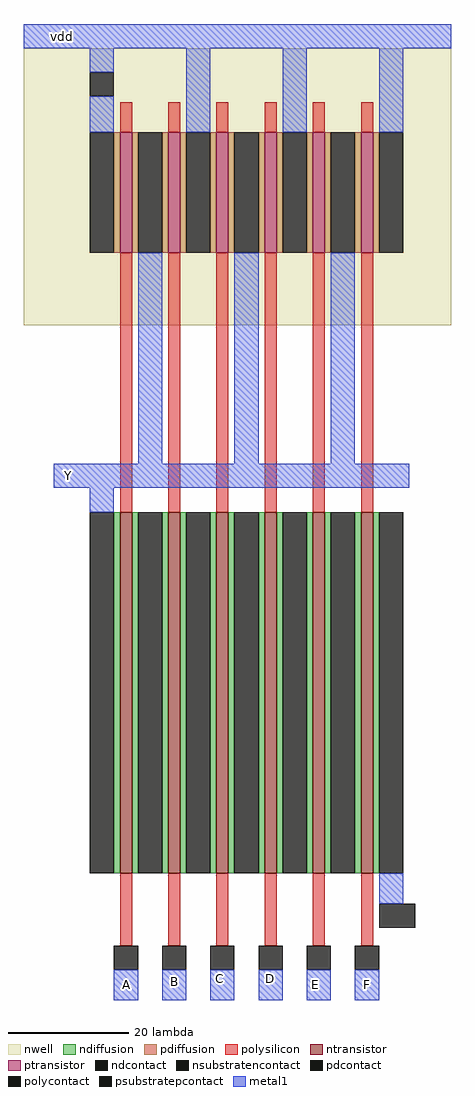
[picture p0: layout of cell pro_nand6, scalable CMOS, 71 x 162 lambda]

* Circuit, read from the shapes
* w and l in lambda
.subckt pro_nand6 A B C D E F Y vdd
M1 n1 A Y VSUBS nfet w=60 l=2
M2 n2 B n1 VSUBS nfet w=60 l=2
M3 n3 C n2 VSUBS nfet w=60 l=2
M4 n4 D n3 VSUBS nfet w=60 l=2
M5 n5 E n4 VSUBS nfet w=60 l=2
M6 VSUBS F n5 VSUBS nfet w=60 l=2
M7 Y A vdd vdd pfet w=20 l=2
M8 vdd B Y vdd pfet w=20 l=2
M9 Y C vdd vdd pfet w=20 l=2
M10 vdd D Y vdd pfet w=20 l=2
M11 Y E vdd vdd pfet w=20 l=2
M12 vdd F Y vdd pfet w=20 l=2
.ends

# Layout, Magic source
magic
tech scmos
<< nwell >>
rect -11 -12 60 34
<< ntransistor >>
rect 5 -103 7 -43
rect 13 -103 15 -43
rect 21 -103 23 -43
rect 29 -103 31 -43
rect 37 -103 39 -43
rect 45 -103 47 -43
<< ptransistor >>
rect 5 0 7 20
rect 13 0 15 20
rect 21 0 23 20
rect 29 0 31 20
rect 37 0 39 20
rect 45 0 47 20
<< ndiffusion >>
rect 4 -103 5 -43
rect 7 -103 8 -43
rect 12 -103 13 -43
rect 15 -103 16 -43
rect 20 -103 21 -43
rect 23 -103 24 -43
rect 28 -103 29 -43
rect 31 -103 32 -43
rect 36 -103 37 -43
rect 39 -103 40 -43
rect 44 -103 45 -43
rect 47 -103 48 -43
<< pdiffusion >>
rect 4 0 5 20
rect 7 0 8 20
rect 12 0 13 20
rect 15 0 16 20
rect 20 0 21 20
rect 23 0 24 20
rect 28 0 29 20
rect 31 0 32 20
rect 36 0 37 20
rect 39 0 40 20
rect 44 0 45 20
rect 47 0 48 20
<< ndcontact >>
rect 0 -103 4 -43
rect 8 -103 12 -43
rect 16 -103 20 -43
rect 24 -103 28 -43
rect 32 -103 36 -43
rect 40 -103 44 -43
rect 48 -103 52 -43
<< pdcontact >>
rect 0 0 4 20
rect 8 0 12 20
rect 16 0 20 20
rect 24 0 28 20
rect 32 0 36 20
rect 40 0 44 20
rect 48 0 52 20
<< psubstratepcontact >>
rect 48 -112 54 -108
<< nsubstratencontact >>
rect 0 26 4 30
<< polysilicon >>
rect 5 20 7 25
rect 13 20 15 25
rect 21 20 23 25
rect 29 20 31 25
rect 37 20 39 25
rect 45 20 47 25
rect 5 -43 7 0
rect 13 -43 15 0
rect 21 -43 23 0
rect 29 -43 31 0
rect 37 -43 39 0
rect 45 -43 47 0
rect 5 -115 7 -103
rect 13 -115 15 -103
rect 21 -115 23 -103
rect 29 -115 31 -103
rect 37 -115 39 -103
rect 45 -115 47 -103
<< polycontact >>
rect 4 -119 8 -115
rect 12 -119 16 -115
rect 20 -119 24 -115
rect 28 -119 32 -115
rect 36 -119 40 -115
rect 44 -119 48 -115
<< metal1 >>
rect -11 34 60 38
rect 0 30 4 34
rect 0 20 4 26
rect 16 20 20 34
rect 32 20 36 34
rect 48 20 52 34
rect 8 -35 12 0
rect 24 -35 28 0
rect 40 -35 44 0
rect -6 -39 53 -35
rect 0 -43 4 -39
rect 48 -108 52 -103
rect 4 -124 8 -119
rect 12 -124 16 -119
rect 20 -124 24 -119
rect 28 -124 32 -119
rect 36 -124 40 -119
rect 44 -124 48 -119
<< labels >>
rlabel metal1 -7 34 -2 38 5 vdd
rlabel metal1 -6 -39 -1 -35 1 Y
rlabel metal1 4 -124 8 -119 1 A
rlabel metal1 12 -123 16 -119 1 B
rlabel metal1 20 -122 23 -119 1 C
rlabel metal1 28 -122 32 -119 1 D
rlabel metal1 36 -124 39 -119 1 E
rlabel metal1 44 -124 48 -119 1 F
<< end >>
